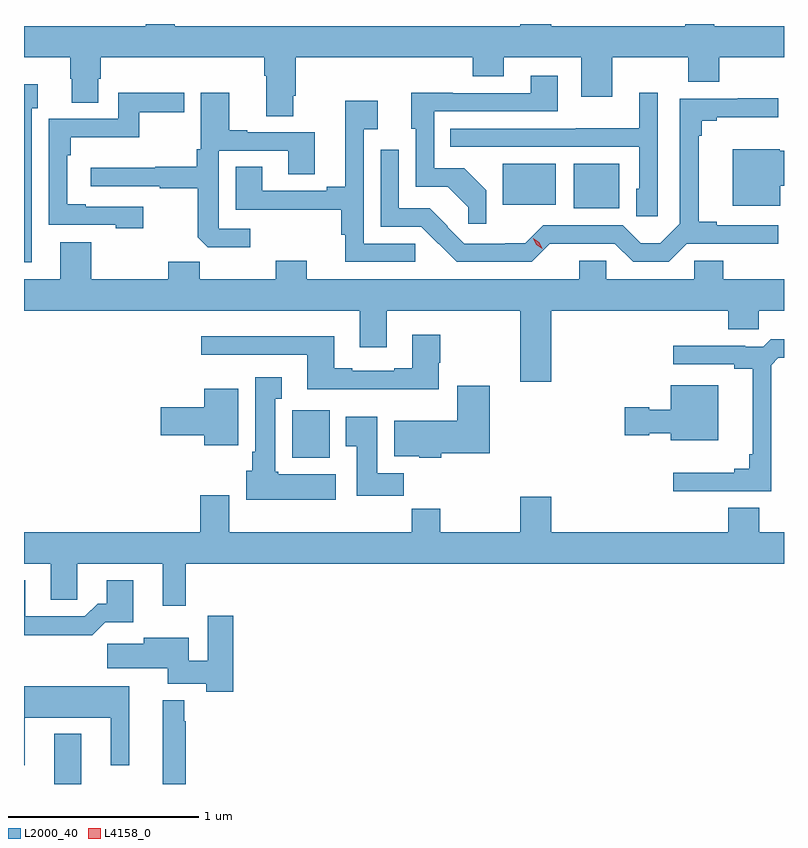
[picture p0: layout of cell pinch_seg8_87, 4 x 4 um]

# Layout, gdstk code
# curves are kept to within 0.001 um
import gdstk
lib = gdstk.Library(unit=1e-6, precision=1e-09)
def R(c, l, rs):  # rectangles x0, y0, x1, y1
    for r in rs: c.add(gdstk.rectangle(r[:2], r[2:], *l))
def P(c, l, *ps):  # polygons
    for p in ps: c.add(gdstk.Polygon(p, *l))
L2000_40 = (2000, 40)
L4158_0 = (4158, 0)

pinch_seg8_87 = lib.new_cell('pinch_seg8_87')
R(pinch_seg8_87, L2000_40, [(1109.609,1106.016,1109.749,1106.281), (1110.861,1107.734,1111.057,1107.984), (1112.342,1109.045,1112.581,1109.281), (1111.97,1109.066,1112.248,1109.281)])
P(pinch_seg8_87, L2000_40, [(1110.865,1109.638),(1110.878,1109.638),(1110.878,1109.84),(1111.811,1109.84),(1111.811,1109.741),(1111.975,1109.741),(1111.975,1109.84),(1112.381,1109.84),(1112.381,1109.634),(1112.545,1109.634),(1112.545,1109.84),(1112.945,1109.84),(1112.945,1109.712),(1113.109,1109.712),(1113.109,1109.84),(1113.449,1109.84),(1113.449,1110.004),(1113.083,1110.004),(1113.083,1110.016),(1112.93,1110.016),(1112.93,1110.004),(1112.224,1110.004),(1112.224,1110.016),(1112.06,1110.016),(1112.06,1110.004),(1110.242,1110.004),(1110.242,1110.016),(1110.089,1110.016),(1110.089,1110.004),(1109.449,1110.004),(1109.449,1109.84),(1109.692,1109.84),(1109.692,1109.727),(1109.699,1109.727),(1109.699,1109.602),(1109.839,1109.602),(1109.839,1109.727),(1109.852,1109.727),(1109.852,1109.84),(1110.713,1109.84),(1110.713,1109.744),(1110.725,1109.744),(1110.725,1109.53),(1110.865,1109.53)],
  [(1111.881,1109.14),(1111.765,1109.256),(1111.608,1109.256),(1111.608,1109.556),(1112.257,1109.556),(1112.257,1109.743),(1112.117,1109.743),(1112.117,1109.652),(1111.705,1109.652),(1111.705,1109.654),(1111.487,1109.654),(1111.487,1109.466),(1111.512,1109.466),(1111.512,1109.16),(1111.678,1109.16),(1111.786,1109.052),(1111.786,1108.965),(1111.881,1108.965)],
  [(1109.491,1109.573),(1109.521,1109.573),(1109.521,1109.698),(1109.449,1109.698),(1109.449,1108.763),(1109.491,1108.763)],
  [(1110.076,1109.055),(1109.773,1109.055),(1109.773,1109.068),(1109.676,1109.068),(1109.676,1109.324),(1109.696,1109.324),(1109.696,1109.42),(1110.055,1109.42),(1110.055,1109.551),(1110.292,1109.551),(1110.292,1109.654),(1109.946,1109.654),(1109.946,1109.517),(1109.58,1109.517),(1109.58,1108.959),(1109.931,1108.959),(1109.931,1108.94),(1110.076,1108.94)],
  [(1112.784,1109.653),(1112.687,1109.653),(1112.687,1109.467),(1112.353,1109.467),(1112.353,1109.466),(1111.693,1109.466),(1111.693,1109.37),(1112.688,1109.37),(1112.688,1109.148),(1112.672,1109.148),(1112.672,1109.005),(1112.784,1109.005)],
  [(1110.64,1108.938),(1110.474,1108.938),(1110.474,1109.349),(1110.839,1109.349),(1110.839,1109.224),(1110.979,1109.224),(1110.979,1109.445),(1110.625,1109.445),(1110.625,1109.458),(1110.529,1109.458),(1110.529,1109.653),(1110.378,1109.653),(1110.378,1109.356),(1110.358,1109.356),(1110.358,1109.264),(1110.139,1109.264),(1110.139,1109.26),(1109.799,1109.26),(1109.799,1109.163),(1110.163,1109.163),(1110.163,1109.151),(1110.363,1109.151),(1110.363,1108.893),(1110.415,1108.842),(1110.64,1108.842)],
  [(1112.216,1108.859),(1112.559,1108.86),(1112.655,1108.764),(1112.842,1108.764),(1112.938,1108.86),(1113.418,1108.859),(1113.418,1108.956),(1113.094,1108.956),(1113.094,1108.976),(1112.999,1108.976),(1112.999,1109.429),(1113.017,1109.429),(1113.017,1109.506),(1113.094,1109.506),(1113.094,1109.525),(1113.418,1109.525),(1113.418,1109.624),(1113.205,1109.624),(1113.205,1109.622),(1112.901,1109.622),(1112.901,1108.965),(1112.797,1108.861),(1112.696,1108.861),(1112.601,1108.956),(1112.181,1108.956),(1112.087,1108.862),(1111.982,1108.862),(1111.982,1108.86),(1111.767,1108.86),(1111.677,1108.95),(1111.679,1108.952),(1111.585,1109.046),(1111.422,1109.046),(1111.422,1109.353),(1111.326,1109.353),(1111.326,1108.95),(1111.539,1108.95),(1111.727,1108.764),(1112.121,1108.764)],
  [(1111.509,1108.86),(1111.236,1108.86),(1111.236,1109.462),(1111.312,1109.462),(1111.312,1109.611),(1111.139,1109.611),(1111.139,1109.159),(1111.043,1109.159),(1111.043,1109.139),(1110.703,1109.139),(1110.703,1109.264),(1110.563,1109.264),(1110.563,1109.038),(1111.12,1109.038),(1111.12,1108.907),(1111.139,1108.907),(1111.139,1108.764),(1111.509,1108.764)],
  [(1113.43,1109.165),(1113.449,1109.165),(1113.449,1109.348),(1113.426,1109.348),(1113.426,1109.356),(1113.179,1109.356),(1113.179,1109.06),(1113.43,1109.06)],
  [(1112.224,1108.508),(1113.155,1108.508),(1113.155,1108.41),(1113.315,1108.41),(1113.315,1108.508),(1113.449,1108.508),(1113.449,1108.672),(1113.128,1108.672),(1113.128,1108.77),(1112.976,1108.77),(1112.976,1108.672),(1112.514,1108.672),(1112.514,1108.77),(1112.372,1108.77),(1112.372,1108.672),(1110.937,1108.672),(1110.937,1108.771),(1110.773,1108.771),(1110.773,1108.672),(1110.373,1108.672),(1110.373,1108.765),(1110.209,1108.765),(1110.209,1108.672),(1109.803,1108.672),(1109.803,1108.867),(1109.639,1108.867),(1109.639,1108.672),(1109.449,1108.672),(1109.449,1108.508),(1111.217,1108.508),(1111.217,1108.314),(1111.357,1108.314),(1111.357,1108.508),(1112.06,1108.508),(1112.06,1108.134),(1112.224,1108.134)],
  [(1111.633,1108.233),(1111.641,1108.233),(1111.641,1108.381),(1111.493,1108.381),(1111.493,1108.204),(1111.397,1108.204),(1111.397,1108.191),(1111.177,1108.191),(1111.177,1108.204),(1111.081,1108.204),(1111.081,1108.372),(1110.381,1108.372),(1110.381,1108.275),(1110.941,1108.275),(1110.941,1108.094),(1111.633,1108.094)],
  [(1113.381,1108.221),(1113.42,1108.26),(1113.449,1108.26),(1113.449,1108.357),(1113.379,1108.357),(1113.339,1108.317),(1113.245,1108.317),(1113.245,1108.322),(1112.865,1108.322),(1112.865,1108.224),(1113.188,1108.224),(1113.188,1108.202),(1113.284,1108.202),(1113.284,1107.751),(1113.265,1107.751),(1113.265,1107.674),(1113.188,1107.674),(1113.188,1107.655),(1112.865,1107.655),(1112.865,1107.558),(1113.381,1107.558)],
  [(1111.09,1107.646),(1110.786,1107.646),(1110.786,1107.66),(1110.772,1107.66),(1110.772,1108.043),(1110.805,1108.043),(1110.805,1108.156),(1110.665,1108.156),(1110.665,1107.766),(1110.65,1107.766),(1110.65,1107.666),(1110.62,1107.666),(1110.62,1107.512),(1111.09,1107.512)],
  [(1113.103,1108.114),(1112.852,1108.114),(1112.852,1107.985),(1112.739,1107.985),(1112.739,1107.998),(1112.61,1107.998),(1112.61,1107.851),(1112.739,1107.851),(1112.739,1107.863),(1112.852,1107.863),(1112.852,1107.824),(1113.103,1107.824)],
  [(1111.644,1107.758),(1111.901,1107.758),(1111.901,1108.111),(1111.73,1108.111),(1111.73,1107.928),(1111.397,1107.928),(1111.397,1107.74),(1111.53,1107.74),(1111.53,1107.734),(1111.644,1107.734)],
  [(1110.577,1108.096),(1110.398,1108.096),(1110.398,1107.998),(1110.168,1107.998),(1110.168,1107.851),(1110.398,1107.851),(1110.398,1107.8),(1110.577,1107.8)],
  [(1111.448,1107.652),(1111.309,1107.652),(1111.309,1107.949),(1111.142,1107.949),(1111.142,1107.793),(1111.199,1107.793),(1111.199,1107.534),(1111.448,1107.534)],
  [(1110.301,1107.176),(1113.449,1107.176),(1113.449,1107.34),(1113.319,1107.34),(1113.319,1107.469),(1113.155,1107.469),(1113.155,1107.34),(1112.224,1107.34),(1112.224,1107.529),(1112.06,1107.529),(1112.06,1107.34),(1111.641,1107.34),(1111.641,1107.464),(1111.489,1107.464),(1111.489,1107.34),(1110.529,1107.34),(1110.529,1107.535),(1110.377,1107.535),(1110.377,1107.34),(1109.449,1107.34),(1109.449,1107.176),(1109.591,1107.176),(1109.591,1106.986),(1109.73,1106.986),(1109.73,1107.176),(1110.179,1107.176),(1110.179,1106.955),(1110.301,1106.955)],
  [(1109.876,1106.867),(1110.025,1106.867),(1110.025,1107.088),(1109.885,1107.088),(1109.885,1106.965),(1109.836,1106.965),(1109.769,1106.898),(1109.455,1106.898),(1109.455,1107.088),(1109.449,1107.088),(1109.449,1106.8),(1109.551,1106.8),(1109.551,1106.798),(1109.807,1106.798)],
  [(1110.551,1106.902),(1110.416,1106.902),(1110.416,1106.666),(1110.316,1106.666),(1110.316,1106.785),(1110.08,1106.785),(1110.08,1106.753),(1109.886,1106.753),(1109.886,1106.624),(1110.206,1106.624),(1110.206,1106.543),(1110.409,1106.543),(1110.409,1106.501),(1110.551,1106.501)],
  [(1109.452,1106.366),(1109.906,1106.366),(1109.906,1106.115),(1110.004,1106.115),(1110.004,1106.53),(1109.449,1106.53),(1109.449,1106.115),(1109.452,1106.115)],
  [(1110.301,1106.345),(1110.293,1106.345),(1110.293,1106.458),(1110.179,1106.458),(1110.179,1106.016),(1110.301,1106.016)])
P(pinch_seg8_87, L4158_0, [(1112.177,1108.833),(1112.146,1108.854),(1112.129,1108.888),(1112.129,1108.888),(1112.13,1108.888),(1112.161,1108.867),(1112.177,1108.834),(1112.177,1108.833)])

lib.write_gds('pinch_seg8_87.gds')
